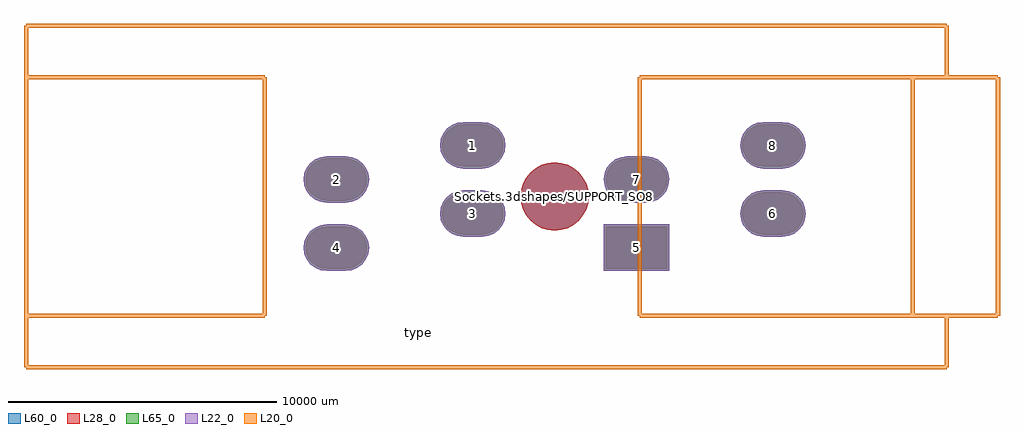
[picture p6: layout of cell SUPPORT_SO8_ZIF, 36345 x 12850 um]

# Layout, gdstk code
import gdstk
lib = gdstk.Library(unit=1e-6, precision=1e-09)
def R(c, l, rs):  # rectangles x0, y0, x1, y1
    for r in rs: c.add(gdstk.rectangle(r[:2], r[2:], *l))
def P(c, l, *ps):  # polygons
    for p in ps: c.add(gdstk.Polygon(p, *l))
L20_0 = (20, 0)
L22_0 = (22, 0)
L28_0 = (28, 0)
L60_0 = (60, 0)
L65_0 = (65, 0)

support_so8_zif = lib.new_cell('SUPPORT_SO8_ZIF')
R(support_so8_zif, L22_0, [(1832.54,-2767.4,4268.54,-1042.6)])
P(support_so8_zif, L22_0, [(-8486.14,-2767.4),(-7774.94,-2767.4),(-7551.734,-2738.014),(-7343.74,-2651.86),(-7165.131,-2514.809),(-7028.08,-2336.2),(-6941.926,-2128.206),(-6912.54,-1905),(-6941.926,-1681.794),(-7028.08,-1473.8),(-7165.131,-1295.191),(-7343.74,-1158.14),(-7551.734,-1071.986),(-7774.94,-1042.6),(-8486.14,-1042.6),(-8709.346,-1071.986),(-8917.34,-1158.14),(-9095.949,-1295.191),(-9233,-1473.8),(-9319.154,-1681.794),(-9348.54,-1905),(-9319.154,-2128.206),(-9233,-2336.2),(-9095.949,-2514.809),(-8917.34,-2651.86),(-8709.346,-2738.014)],
  [(-3406.14,-1497.4),(-2694.94,-1497.4),(-2471.734,-1468.014),(-2263.74,-1381.86),(-2085.131,-1244.809),(-1948.08,-1066.2),(-1861.926,-858.206),(-1832.54,-635),(-1861.926,-411.794),(-1948.08,-203.8),(-2085.131,-25.191),(-2263.74,111.86),(-2471.734,198.014),(-2694.94,227.4),(-3406.14,227.4),(-3629.346,198.014),(-3837.34,111.86),(-4015.949,-25.191),(-4153,-203.8),(-4239.154,-411.794),(-4268.54,-635),(-4239.154,-858.206),(-4153,-1066.2),(-4015.949,-1244.809),(-3837.34,-1381.86),(-3629.346,-1468.014)],
  [(-8486.14,-227.4),(-7774.94,-227.4),(-7551.734,-198.014),(-7343.74,-111.86),(-7165.131,25.191),(-7028.08,203.8),(-6941.926,411.794),(-6912.54,635),(-6941.926,858.206),(-7028.08,1066.2),(-7165.131,1244.809),(-7343.74,1381.86),(-7551.734,1468.014),(-7774.94,1497.4),(-8486.14,1497.4),(-8709.346,1468.014),(-8917.34,1381.86),(-9095.949,1244.809),(-9233,1066.2),(-9319.154,858.206),(-9348.54,635),(-9319.154,411.794),(-9233,203.8),(-9095.949,25.191),(-8917.34,-111.86),(-8709.346,-198.014)],
  [(-3406.14,1042.6),(-2694.94,1042.6),(-2471.734,1071.986),(-2263.74,1158.14),(-2085.131,1295.191),(-1948.08,1473.8),(-1861.926,1681.794),(-1832.54,1905),(-1861.926,2128.206),(-1948.08,2336.2),(-2085.131,2514.809),(-2263.74,2651.86),(-2471.734,2738.014),(-2694.94,2767.4),(-3406.14,2767.4),(-3629.346,2738.014),(-3837.34,2651.86),(-4015.949,2514.809),(-4153,2336.2),(-4239.154,2128.206),(-4268.54,1905),(-4239.154,1681.794),(-4153,1473.8),(-4015.949,1295.191),(-3837.34,1158.14),(-3629.346,1071.986)],
  [(7774.94,1042.6),(8486.14,1042.6),(8709.346,1071.986),(8917.34,1158.14),(9095.949,1295.191),(9233,1473.8),(9319.154,1681.794),(9348.54,1905),(9319.154,2128.206),(9233,2336.2),(9095.949,2514.809),(8917.34,2651.86),(8709.346,2738.014),(8486.14,2767.4),(7774.94,2767.4),(7551.734,2738.014),(7343.74,2651.86),(7165.131,2514.809),(7028.08,2336.2),(6941.926,2128.206),(6912.54,1905),(6941.926,1681.794),(7028.08,1473.8),(7165.131,1295.191),(7343.74,1158.14),(7551.734,1071.986)],
  [(2694.94,-227.4),(3406.14,-227.4),(3629.346,-198.014),(3837.34,-111.86),(4015.949,25.191),(4153,203.8),(4239.154,411.794),(4268.54,635),(4239.154,858.206),(4153,1066.2),(4015.949,1244.809),(3837.34,1381.86),(3629.346,1468.014),(3406.14,1497.4),(2694.94,1497.4),(2471.734,1468.014),(2263.74,1381.86),(2085.131,1244.809),(1948.08,1066.2),(1861.926,858.206),(1832.54,635),(1861.926,411.794),(1948.08,203.8),(2085.131,25.191),(2263.74,-111.86),(2471.734,-198.014)],
  [(7774.94,-1497.4),(8486.14,-1497.4),(8709.346,-1468.014),(8917.34,-1381.86),(9095.949,-1244.809),(9233,-1066.2),(9319.154,-858.206),(9348.54,-635),(9319.154,-411.794),(9233,-203.8),(9095.949,-25.191),(8917.34,111.86),(8709.346,198.014),(8486.14,227.4),(7774.94,227.4),(7551.734,198.014),(7343.74,111.86),(7165.131,-25.191),(7028.08,-203.8),(6941.926,-411.794),(6912.54,-635),(6941.926,-858.206),(7028.08,-1066.2),(7165.131,-1244.809),(7343.74,-1381.86),(7551.734,-1468.014)])
R(support_so8_zif, L28_0, [(1907.54,-2692.4,4193.54,-1117.6)])
P(support_so8_zif, L28_0, [(1270,0),(1245.597,247.765),(1173.327,486.008),(1055.966,705.574),(898.026,898.026),(705.574,1055.966),(486.008,1173.327),(247.765,1245.597),(0,1270),(-247.765,1245.597),(-486.008,1173.327),(-705.574,1055.966),(-898.026,898.026),(-1055.966,705.574),(-1173.327,486.008),(-1245.597,247.765),(-1270,0),(-1245.597,-247.765),(-1173.327,-486.008),(-1055.966,-705.574),(-898.026,-898.026),(-705.574,-1055.966),(-486.008,-1173.327),(-247.765,-1245.597),(0,-1270),(247.765,-1245.597),(486.008,-1173.327),(705.574,-1055.966),(898.026,-898.026),(1055.966,-705.574),(1173.327,-486.008),(1245.597,-247.765)],
  [(-8486.14,-2692.4),(-7774.94,-2692.4),(-7571.146,-2665.57),(-7381.24,-2586.908),(-7218.164,-2461.776),(-7093.032,-2298.7),(-7014.37,-2108.794),(-6987.54,-1905),(-7014.37,-1701.206),(-7093.032,-1511.3),(-7218.164,-1348.224),(-7381.24,-1223.092),(-7571.146,-1144.43),(-7774.94,-1117.6),(-8486.14,-1117.6),(-8689.934,-1144.43),(-8879.84,-1223.092),(-9042.916,-1348.224),(-9168.048,-1511.3),(-9246.71,-1701.206),(-9273.54,-1905),(-9246.71,-2108.794),(-9168.048,-2298.7),(-9042.916,-2461.776),(-8879.84,-2586.908),(-8689.934,-2665.57)],
  [(-3406.14,-1422.4),(-2694.94,-1422.4),(-2491.146,-1395.57),(-2301.24,-1316.908),(-2138.164,-1191.776),(-2013.032,-1028.7),(-1934.37,-838.794),(-1907.54,-635),(-1934.37,-431.206),(-2013.032,-241.3),(-2138.164,-78.224),(-2301.24,46.908),(-2491.146,125.57),(-2694.94,152.4),(-3406.14,152.4),(-3609.934,125.57),(-3799.84,46.908),(-3962.916,-78.224),(-4088.048,-241.3),(-4166.71,-431.206),(-4193.54,-635),(-4166.71,-838.794),(-4088.048,-1028.7),(-3962.916,-1191.776),(-3799.84,-1316.908),(-3609.934,-1395.57)],
  [(-8486.14,-152.4),(-7774.94,-152.4),(-7571.146,-125.57),(-7381.24,-46.908),(-7218.164,78.224),(-7093.032,241.3),(-7014.37,431.206),(-6987.54,635),(-7014.37,838.794),(-7093.032,1028.7),(-7218.164,1191.776),(-7381.24,1316.908),(-7571.146,1395.57),(-7774.94,1422.4),(-8486.14,1422.4),(-8689.934,1395.57),(-8879.84,1316.908),(-9042.916,1191.776),(-9168.048,1028.7),(-9246.71,838.794),(-9273.54,635),(-9246.71,431.206),(-9168.048,241.3),(-9042.916,78.224),(-8879.84,-46.908),(-8689.934,-125.57)],
  [(-3406.14,1117.6),(-2694.94,1117.6),(-2491.146,1144.43),(-2301.24,1223.092),(-2138.164,1348.224),(-2013.032,1511.3),(-1934.37,1701.206),(-1907.54,1905),(-1934.37,2108.794),(-2013.032,2298.7),(-2138.164,2461.776),(-2301.24,2586.908),(-2491.146,2665.57),(-2694.94,2692.4),(-3406.14,2692.4),(-3609.934,2665.57),(-3799.84,2586.908),(-3962.916,2461.776),(-4088.048,2298.7),(-4166.71,2108.794),(-4193.54,1905),(-4166.71,1701.206),(-4088.048,1511.3),(-3962.916,1348.224),(-3799.84,1223.092),(-3609.934,1144.43)],
  [(7774.94,1117.6),(8486.14,1117.6),(8689.934,1144.43),(8879.84,1223.092),(9042.916,1348.224),(9168.048,1511.3),(9246.71,1701.206),(9273.54,1905),(9246.71,2108.794),(9168.048,2298.7),(9042.916,2461.776),(8879.84,2586.908),(8689.934,2665.57),(8486.14,2692.4),(7774.94,2692.4),(7571.146,2665.57),(7381.24,2586.908),(7218.164,2461.776),(7093.032,2298.7),(7014.37,2108.794),(6987.54,1905),(7014.37,1701.206),(7093.032,1511.3),(7218.164,1348.224),(7381.24,1223.092),(7571.146,1144.43)],
  [(2694.94,-152.4),(3406.14,-152.4),(3609.934,-125.57),(3799.84,-46.908),(3962.916,78.224),(4088.048,241.3),(4166.71,431.206),(4193.54,635),(4166.71,838.794),(4088.048,1028.7),(3962.916,1191.776),(3799.84,1316.908),(3609.934,1395.57),(3406.14,1422.4),(2694.94,1422.4),(2491.146,1395.57),(2301.24,1316.908),(2138.164,1191.776),(2013.032,1028.7),(1934.37,838.794),(1907.54,635),(1934.37,431.206),(2013.032,241.3),(2138.164,78.224),(2301.24,-46.908),(2491.146,-125.57)],
  [(7774.94,-1422.4),(8486.14,-1422.4),(8689.934,-1395.57),(8879.84,-1316.908),(9042.916,-1191.776),(9168.048,-1028.7),(9246.71,-838.794),(9273.54,-635),(9246.71,-431.206),(9168.048,-241.3),(9042.916,-78.224),(8879.84,46.908),(8689.934,125.57),(8486.14,152.4),(7774.94,152.4),(7571.146,125.57),(7381.24,46.908),(7218.164,-78.224),(7093.032,-241.3),(7014.37,-431.206),(6987.54,-635),(7014.37,-838.794),(7093.032,-1028.7),(7218.164,-1191.776),(7381.24,-1316.908),(7571.146,-1395.57)])
R(support_so8_zif, L60_0, [(1907.54,-2692.4,4193.54,-1117.6)])
P(support_so8_zif, L60_0, [(1270,0),(1245.597,247.765),(1173.327,486.008),(1055.966,705.574),(898.026,898.026),(705.574,1055.966),(486.008,1173.327),(247.765,1245.597),(0,1270),(-247.765,1245.597),(-486.008,1173.327),(-705.574,1055.966),(-898.026,898.026),(-1055.966,705.574),(-1173.327,486.008),(-1245.597,247.765),(-1270,0),(-1245.597,-247.765),(-1173.327,-486.008),(-1055.966,-705.574),(-898.026,-898.026),(-705.574,-1055.966),(-486.008,-1173.327),(-247.765,-1245.597),(0,-1270),(247.765,-1245.597),(486.008,-1173.327),(705.574,-1055.966),(898.026,-898.026),(1055.966,-705.574),(1173.327,-486.008),(1245.597,-247.765)],
  [(-8486.14,-2692.4),(-7774.94,-2692.4),(-7571.146,-2665.57),(-7381.24,-2586.908),(-7218.164,-2461.776),(-7093.032,-2298.7),(-7014.37,-2108.794),(-6987.54,-1905),(-7014.37,-1701.206),(-7093.032,-1511.3),(-7218.164,-1348.224),(-7381.24,-1223.092),(-7571.146,-1144.43),(-7774.94,-1117.6),(-8486.14,-1117.6),(-8689.934,-1144.43),(-8879.84,-1223.092),(-9042.916,-1348.224),(-9168.048,-1511.3),(-9246.71,-1701.206),(-9273.54,-1905),(-9246.71,-2108.794),(-9168.048,-2298.7),(-9042.916,-2461.776),(-8879.84,-2586.908),(-8689.934,-2665.57)],
  [(-3406.14,-1422.4),(-2694.94,-1422.4),(-2491.146,-1395.57),(-2301.24,-1316.908),(-2138.164,-1191.776),(-2013.032,-1028.7),(-1934.37,-838.794),(-1907.54,-635),(-1934.37,-431.206),(-2013.032,-241.3),(-2138.164,-78.224),(-2301.24,46.908),(-2491.146,125.57),(-2694.94,152.4),(-3406.14,152.4),(-3609.934,125.57),(-3799.84,46.908),(-3962.916,-78.224),(-4088.048,-241.3),(-4166.71,-431.206),(-4193.54,-635),(-4166.71,-838.794),(-4088.048,-1028.7),(-3962.916,-1191.776),(-3799.84,-1316.908),(-3609.934,-1395.57)],
  [(-8486.14,-152.4),(-7774.94,-152.4),(-7571.146,-125.57),(-7381.24,-46.908),(-7218.164,78.224),(-7093.032,241.3),(-7014.37,431.206),(-6987.54,635),(-7014.37,838.794),(-7093.032,1028.7),(-7218.164,1191.776),(-7381.24,1316.908),(-7571.146,1395.57),(-7774.94,1422.4),(-8486.14,1422.4),(-8689.934,1395.57),(-8879.84,1316.908),(-9042.916,1191.776),(-9168.048,1028.7),(-9246.71,838.794),(-9273.54,635),(-9246.71,431.206),(-9168.048,241.3),(-9042.916,78.224),(-8879.84,-46.908),(-8689.934,-125.57)],
  [(-3406.14,1117.6),(-2694.94,1117.6),(-2491.146,1144.43),(-2301.24,1223.092),(-2138.164,1348.224),(-2013.032,1511.3),(-1934.37,1701.206),(-1907.54,1905),(-1934.37,2108.794),(-2013.032,2298.7),(-2138.164,2461.776),(-2301.24,2586.908),(-2491.146,2665.57),(-2694.94,2692.4),(-3406.14,2692.4),(-3609.934,2665.57),(-3799.84,2586.908),(-3962.916,2461.776),(-4088.048,2298.7),(-4166.71,2108.794),(-4193.54,1905),(-4166.71,1701.206),(-4088.048,1511.3),(-3962.916,1348.224),(-3799.84,1223.092),(-3609.934,1144.43)],
  [(7774.94,1117.6),(8486.14,1117.6),(8689.934,1144.43),(8879.84,1223.092),(9042.916,1348.224),(9168.048,1511.3),(9246.71,1701.206),(9273.54,1905),(9246.71,2108.794),(9168.048,2298.7),(9042.916,2461.776),(8879.84,2586.908),(8689.934,2665.57),(8486.14,2692.4),(7774.94,2692.4),(7571.146,2665.57),(7381.24,2586.908),(7218.164,2461.776),(7093.032,2298.7),(7014.37,2108.794),(6987.54,1905),(7014.37,1701.206),(7093.032,1511.3),(7218.164,1348.224),(7381.24,1223.092),(7571.146,1144.43)],
  [(2694.94,-152.4),(3406.14,-152.4),(3609.934,-125.57),(3799.84,-46.908),(3962.916,78.224),(4088.048,241.3),(4166.71,431.206),(4193.54,635),(4166.71,838.794),(4088.048,1028.7),(3962.916,1191.776),(3799.84,1316.908),(3609.934,1395.57),(3406.14,1422.4),(2694.94,1422.4),(2491.146,1395.57),(2301.24,1316.908),(2138.164,1191.776),(2013.032,1028.7),(1934.37,838.794),(1907.54,635),(1934.37,431.206),(2013.032,241.3),(2138.164,78.224),(2301.24,-46.908),(2491.146,-125.57)],
  [(7774.94,-1422.4),(8486.14,-1422.4),(8689.934,-1395.57),(8879.84,-1316.908),(9042.916,-1191.776),(9168.048,-1028.7),(9246.71,-838.794),(9273.54,-635),(9246.71,-431.206),(9168.048,-241.3),(9042.916,-78.224),(8879.84,46.908),(8689.934,125.57),(8486.14,152.4),(7774.94,152.4),(7571.146,125.57),(7381.24,46.908),(7218.164,-78.224),(7093.032,-241.3),(7014.37,-431.206),(6987.54,-635),(7014.37,-838.794),(7093.032,-1028.7),(7218.164,-1191.776),(7381.24,-1316.908),(7571.146,-1395.57)])
R(support_so8_zif, L65_0, [(1832.54,-2767.4,4268.54,-1042.6)])
P(support_so8_zif, L65_0, [(-8486.14,-2767.4),(-7774.94,-2767.4),(-7551.734,-2738.014),(-7343.74,-2651.86),(-7165.131,-2514.809),(-7028.08,-2336.2),(-6941.926,-2128.206),(-6912.54,-1905),(-6941.926,-1681.794),(-7028.08,-1473.8),(-7165.131,-1295.191),(-7343.74,-1158.14),(-7551.734,-1071.986),(-7774.94,-1042.6),(-8486.14,-1042.6),(-8709.346,-1071.986),(-8917.34,-1158.14),(-9095.949,-1295.191),(-9233,-1473.8),(-9319.154,-1681.794),(-9348.54,-1905),(-9319.154,-2128.206),(-9233,-2336.2),(-9095.949,-2514.809),(-8917.34,-2651.86),(-8709.346,-2738.014)],
  [(-3406.14,-1497.4),(-2694.94,-1497.4),(-2471.734,-1468.014),(-2263.74,-1381.86),(-2085.131,-1244.809),(-1948.08,-1066.2),(-1861.926,-858.206),(-1832.54,-635),(-1861.926,-411.794),(-1948.08,-203.8),(-2085.131,-25.191),(-2263.74,111.86),(-2471.734,198.014),(-2694.94,227.4),(-3406.14,227.4),(-3629.346,198.014),(-3837.34,111.86),(-4015.949,-25.191),(-4153,-203.8),(-4239.154,-411.794),(-4268.54,-635),(-4239.154,-858.206),(-4153,-1066.2),(-4015.949,-1244.809),(-3837.34,-1381.86),(-3629.346,-1468.014)],
  [(-8486.14,-227.4),(-7774.94,-227.4),(-7551.734,-198.014),(-7343.74,-111.86),(-7165.131,25.191),(-7028.08,203.8),(-6941.926,411.794),(-6912.54,635),(-6941.926,858.206),(-7028.08,1066.2),(-7165.131,1244.809),(-7343.74,1381.86),(-7551.734,1468.014),(-7774.94,1497.4),(-8486.14,1497.4),(-8709.346,1468.014),(-8917.34,1381.86),(-9095.949,1244.809),(-9233,1066.2),(-9319.154,858.206),(-9348.54,635),(-9319.154,411.794),(-9233,203.8),(-9095.949,25.191),(-8917.34,-111.86),(-8709.346,-198.014)],
  [(-3406.14,1042.6),(-2694.94,1042.6),(-2471.734,1071.986),(-2263.74,1158.14),(-2085.131,1295.191),(-1948.08,1473.8),(-1861.926,1681.794),(-1832.54,1905),(-1861.926,2128.206),(-1948.08,2336.2),(-2085.131,2514.809),(-2263.74,2651.86),(-2471.734,2738.014),(-2694.94,2767.4),(-3406.14,2767.4),(-3629.346,2738.014),(-3837.34,2651.86),(-4015.949,2514.809),(-4153,2336.2),(-4239.154,2128.206),(-4268.54,1905),(-4239.154,1681.794),(-4153,1473.8),(-4015.949,1295.191),(-3837.34,1158.14),(-3629.346,1071.986)],
  [(7774.94,1042.6),(8486.14,1042.6),(8709.346,1071.986),(8917.34,1158.14),(9095.949,1295.191),(9233,1473.8),(9319.154,1681.794),(9348.54,1905),(9319.154,2128.206),(9233,2336.2),(9095.949,2514.809),(8917.34,2651.86),(8709.346,2738.014),(8486.14,2767.4),(7774.94,2767.4),(7551.734,2738.014),(7343.74,2651.86),(7165.131,2514.809),(7028.08,2336.2),(6941.926,2128.206),(6912.54,1905),(6941.926,1681.794),(7028.08,1473.8),(7165.131,1295.191),(7343.74,1158.14),(7551.734,1071.986)],
  [(2694.94,-227.4),(3406.14,-227.4),(3629.346,-198.014),(3837.34,-111.86),(4015.949,25.191),(4153,203.8),(4239.154,411.794),(4268.54,635),(4239.154,858.206),(4153,1066.2),(4015.949,1244.809),(3837.34,1381.86),(3629.346,1468.014),(3406.14,1497.4),(2694.94,1497.4),(2471.734,1468.014),(2263.74,1381.86),(2085.131,1244.809),(1948.08,1066.2),(1861.926,858.206),(1832.54,635),(1861.926,411.794),(1948.08,203.8),(2085.131,25.191),(2263.74,-111.86),(2471.734,-198.014)],
  [(7774.94,-1497.4),(8486.14,-1497.4),(8709.346,-1468.014),(8917.34,-1381.86),(9095.949,-1244.809),(9233,-1066.2),(9319.154,-858.206),(9348.54,-635),(9319.154,-411.794),(9233,-203.8),(9095.949,-25.191),(8917.34,111.86),(8709.346,198.014),(8486.14,227.4),(7774.94,227.4),(7551.734,198.014),(7343.74,111.86),(7165.131,-25.191),(7028.08,-203.8),(6941.926,-411.794),(6912.54,-635),(6941.926,-858.206),(7028.08,-1066.2),(7165.131,-1244.809),(7343.74,-1381.86),(7551.734,-1468.014)])
support_so8_zif.add(gdstk.FlexPath([(-19685,6350),(-19685,-6350)], 149.998, ends="flush", simple_path=True, layer=20, datatype=0))  # L20_0
support_so8_zif.add(gdstk.FlexPath([(14605,-6350),(-19685,-6350)], 149.998, ends="flush", simple_path=True, layer=20, datatype=0))  # L20_0
support_so8_zif.add(gdstk.FlexPath([(-19685,6350),(14605,6350)], 149.998, ends="flush", simple_path=True, layer=20, datatype=0))  # L20_0
support_so8_zif.add(gdstk.FlexPath([(3175,4445),(3175,-4445)], 149.998, ends="flush", simple_path=True, layer=20, datatype=0))  # L20_0
support_so8_zif.add(gdstk.FlexPath([(16510,4445),(3175,4445)], 149.998, ends="flush", simple_path=True, layer=20, datatype=0))  # L20_0
support_so8_zif.add(gdstk.FlexPath([(16510,-4445),(16510,4445)], 149.998, ends="flush", simple_path=True, layer=20, datatype=0))  # L20_0
support_so8_zif.add(gdstk.FlexPath([(3175,-4445),(16510,-4445)], 149.998, ends="flush", simple_path=True, layer=20, datatype=0))  # L20_0
support_so8_zif.add(gdstk.FlexPath([(13335,-4445),(13335,4445)], 149.998, ends="flush", simple_path=True, layer=20, datatype=0))  # L20_0
support_so8_zif.add(gdstk.FlexPath([(14605,-6350),(14605,-4445)], 149.998, ends="flush", simple_path=True, layer=20, datatype=0))  # L20_0
support_so8_zif.add(gdstk.FlexPath([(14605,6350),(14605,4445)], 149.998, ends="flush", simple_path=True, layer=20, datatype=0))  # L20_0
support_so8_zif.add(gdstk.FlexPath([(-10795,4445),(-19685,4445)], 149.998, ends="flush", simple_path=True, layer=20, datatype=0))  # L20_0
support_so8_zif.add(gdstk.FlexPath([(-10795,-4445),(-10795,4445)], 149.998, ends="flush", simple_path=True, layer=20, datatype=0))  # L20_0
support_so8_zif.add(gdstk.FlexPath([(-19685,-4445),(-10795,-4445)], 149.998, ends="flush", simple_path=True, layer=20, datatype=0))  # L20_0
support_so8_zif.add(gdstk.Label('Sockets.3dshapes/SUPPORT_SO8_ZIF.wrl', (0,0), layer=12, texttype=0))
support_so8_zif.add(gdstk.Label('4', (-8130.54,-1905), layer=28, texttype=0))
support_so8_zif.add(gdstk.Label('3', (-3050.54,-635), layer=28, texttype=0))
support_so8_zif.add(gdstk.Label('2', (-8130.54,635), layer=28, texttype=0))
support_so8_zif.add(gdstk.Label('1', (-3050.54,1905), layer=28, texttype=0))
support_so8_zif.add(gdstk.Label('8', (8130.54,1905), layer=28, texttype=0))
support_so8_zif.add(gdstk.Label('7', (3050.54,635), layer=28, texttype=0))
support_so8_zif.add(gdstk.Label('6', (8130.54,-635), layer=28, texttype=0))
support_so8_zif.add(gdstk.Label('5', (3050.54,-1905), layer=28, texttype=0))
support_so8_zif.add(gdstk.Label('type', (-5080,-5080), layer=9, texttype=0))
support_so8_zif.add(gdstk.Label('devicename', (0,7620), layer=9, texttype=0))

lib.write_gds('SUPPORT_SO8_ZIF.gds')
